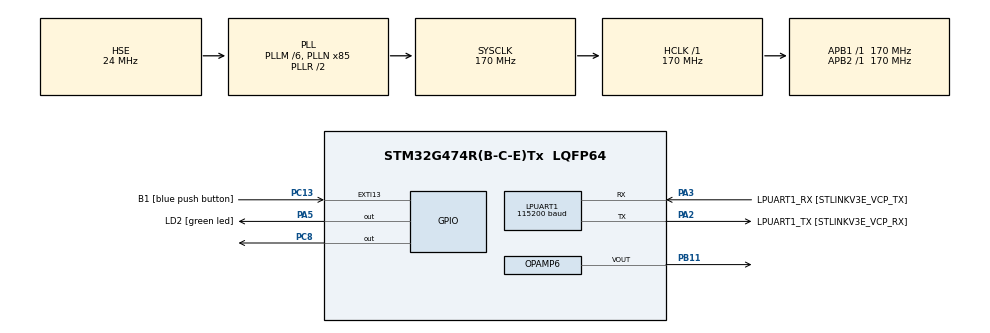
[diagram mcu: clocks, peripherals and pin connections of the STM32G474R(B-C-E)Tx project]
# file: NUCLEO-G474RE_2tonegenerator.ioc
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Mcu.Family=STM32G4
RCC.CortexFreq_Value=170000000
Dma.DAC3_CH1.0.Polarity=HAL_DMAMUX_REQ_GEN_RISING
Dma.DAC3_CH1.0.MemInc=DMA_MINC_ENABLE
PA14.GPIO_Label=T_SWCLK
Dma.DAC3_CH1.0.PeriphInc=DMA_PINC_DISABLE
LPUART1.WordLength=UART_WORDLENGTH_8B
PC13.GPIO_Label=B1 [blue push button]
PB11.Signal=OPAMP6_VOUT
RCC.SYSCLKSource=RCC_SYSCLKSOURCE_PLLCLK
ProjectManager.StackSize=0x400
Dma.DAC3_CH1.0.MemDataAlignment=DMA_MDATAALIGN_WORD
Dma.DAC3_CH1.0.SyncPolarity=HAL_DMAMUX_SYNC_NO_EVENT
Dma.DAC3_CH1.0.SyncEnable=DISABLE
RCC.HCLKFreq_Value=170000000
RCC.APB2TimFreq_Value=170000000
DAC3.DAC_Trigger_OUT1-DAC_OUT1_Int=DAC_TRIGGER_T6_TRGO
RCC.AHBFreq_Value=170000000
NVIC.EXTI15_10_IRQn=true\:0\:0\:false\:false\:true\:true\:true
RCC.HSE_VALUE=24000000
PB3.Mode=Trace_Asynchronous_SW
OPAMP6.PowerMode=OPAMP_POWERMODE_HIGHSPEED
RCC.ADC12Freq_Value=170000000
RCC.RTCClockSelection=RCC_RTCCLKSOURCE_LSE
VP_DAC3_VS_DACI1.Mode=DAC_OUT1_Int
PC14-OSC32_IN.Mode=LSE-External-Oscillator
PA14.Mode=Trace_Asynchronous_SW
VP_SYS_VS_DBSignals.Mode=DisableDeadBatterySignals
Mcu.Package=LQFP64
Dma.DAC3_CH1.0.Mode=DMA_CIRCULAR
TIM6.PeriodNoDither=2-1
PA2.GPIO_Label=LPUART1_TX [STLINKV3E_VCP_RX]
PC8.GPIO_Speed=GPIO_SPEED_FREQ_LOW
RCC.APB1TimFreq_Value=170000000
PF1-OSC_OUT.Mode=HSE-External-Oscillator
Dma.Request0=DAC3_CH1
PF1-OSC_OUT.Signal=RCC_OSC_OUT
RCC.HSI48_VALUE=48000000
PA3.Signal=LPUART1_RX
PB3.GPIO_Label=T_SWO
RCC.PLLSourceVirtual=RCC_PLLSOURCE_HSE
PC15-OSC32_OUT.Mode=LSE-External-Oscillator
PC13.Signal=GPXTI13
PC8.Signal=GPIO_Output
TIM6.Prescaler=2-1
VP_TIM6_VS_ClockSourceINT.Mode=Enable_Timer
RCC.EXTERNAL_CLOCK_VALUE=12288000
PC14-OSC32_IN.Signal=RCC_OSC32_IN
Dma.DAC3_CH1.0.Instance=DMA1_Channel1
PA13.Signal=SYS_JTMS-SWDIO
PA3.Mode=Asynchronous
Dma.DAC3_CH1.0.Direction=DMA_MEMORY_TO_PERIPH
PB11.Mode=Follower-DAC_OUT2-INP
ProjectManager.TargetToolchain=STM32CubeIDE
RCC.USBFreq_Value=170000000
PC15-OSC32_OUT.Signal=RCC_OSC32_OUT
PF0-OSC_IN.Mode=HSE-External-Oscillator
Dma.DAC3_CH1.0.EventEnable=DISABLE
PA5.Signal=GPIO_Output
Dma.DAC3_CH1.0.SyncRequestNumber=1
board=NUCLEO-G474RE
RCC.VCOOutputFreq_Value=340000000
RCC.ADC345Freq_Value=170000000
RCC.APB2Freq_Value=170000000
TIM6.TIM_MasterOutputTrigger=TIM_TRGO_UPDATE
Dma.DAC3_CH1.0.SignalID=NONE
PA13.Mode=Trace_Asynchronous_SW
Mcu.Name=STM32G474R(B-C-E)Tx
LPUART1.BaudRate=115200
PA13.GPIO_Label=T_SWDIO
PA2.Signal=LPUART1_TX
Dma.DAC3_CH1.0.PeriphDataAlignment=DMA_PDATAALIGN_WORD
Dma.DAC3_CH1.0.Priority=DMA_PRIORITY_HIGH
PB3.Signal=SYS_JTDO-SWO
RCC.SYSCLKFreq_VALUE=170000000
DAC3.DAC_HighFrequency_OUT1-DAC_OUT1_Int=DAC_HIGH_FREQUENCY_INTERFACE_MODE_ABOVE_160MHZ
PA5.GPIO_Label=LD2 [green led]
Dma.DAC3_CH1.0.RequestNumber=1
PA14.Signal=SYS_JTCK-SWCLK
ProjectManager.HeapSize=0x200
RCC.HSI_VALUE=16000000
NVIC.PriorityGroup=NVIC_PRIORITYGROUP_4
RCC.PLLM=RCC_PLLM_DIV6
RCC.PLLN=85
Dma.DAC3_CH1.0.SyncSignalID=NONE
PA2.Mode=Asynchronous
NVIC.DMA1_Channel1_IRQn=true\:0\:0\:false\:false\:true\:false\:false
PF0-OSC_IN.Signal=RCC_OSC_IN
RCC.APB1Freq_Value=170000000
PA3.GPIO_Label=LPUART1_RX [STLINKV3E_VCP_TX]

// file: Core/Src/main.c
/* USER CODE BEGIN Header */
/**
  ******************************************************************************
  * @file           : main.c
  * @brief          : Main program body
  ******************************************************************************
  * @attention
  *
  * <h2><center>&copy; Copyright (c) 2021 STMicroelectronics.
  * All rights reserved.</center></h2>
  *
  * This software component is licensed by ST under BSD 3-Clause license,
  * the "License"; You may not use this file except in compliance with the
  * License. You may obtain a copy of the License at:
  *                        opensource.org/licenses/BSD-3-Clause
  *
  ******************************************************************************
  */
/* USER CODE END Header */
#include "main.h"

/* USER CODE BEGIN Includes */

#include "waveforms.h"
#include <stdio.h>
#include "stm32g4xx_hal_dma.h"

/* USER CODE END Includes */

/* USER CODE BEGIN PD */

# define MySine4000_SIZE MySine2000_SIZE

/* USER CODE END PD */

DAC_HandleTypeDef hdac3;
DMA_HandleTypeDef hdma_dac3_ch1;

UART_HandleTypeDef hlpuart1;

OPAMP_HandleTypeDef hopamp6;

TIM_HandleTypeDef htim6;

/* USER CODE BEGIN PV */

uint32_t MySine4000[MySine4000_SIZE];
uint32_t pass, period;

/* USER CODE END PV */

void SystemClock_Config(void);
static void MX_GPIO_Init(void);
static void MX_DMA_Init(void);
static void MX_LPUART1_UART_Init(void);
static void MX_DAC3_Init(void);
static void MX_OPAMP6_Init(void);
static void MX_TIM6_Init(void);
/* USER CODE BEGIN PFP */

#define PUTCHAR_PROTOTYPE int __io_putchar(int ch)

/* USER CODE END PFP */

int main(void)
{

  /* MCU Configuration--------------------------------------------------------*/

  /* Reset of all peripherals, Initializes the Flash interface and the Systick. */
  HAL_Init();

  /* Configure the system clock */
  SystemClock_Config();

  /* Initialize all configured peripherals */
  MX_GPIO_Init();
  MX_DMA_Init();
  MX_LPUART1_UART_Init();
  MX_DAC3_Init();
  MX_OPAMP6_Init();
  MX_TIM6_Init();
  /* USER CODE BEGIN 2 */

//  for (uint16_t cntr = 0; cntr < MySine2000_SIZE; cntr++)
//  {
//	  MySine2000[cntr] += 682;
//	  MySine4000[cntr] = MySine2000[cntr];
//	  MySine2000[cntr] += MySine200[cntr % MySine200_SIZE];
//  }

  for (uint16_t cntr = 0; cntr < Sine12bit_SIZE; cntr++)
  {
	  Sine12bit[cntr] += 682;
//	  MySine4000[cntr] = MySine2000[cntr];
//	  MySine2000[cntr] += MySine200[cntr % MySine200_SIZE];
  }

//	printf("Sine1k_15k = 1k + 10k \n");
//	for (uint16_t cntr = 0; cntr < Sine1k_15k_SIZE; cntr++)
//	{
//	  printf("%d %d\n",cntr, Sine1k_15k[cntr]);
//	}

  GPIOC->BSRR = (1<<(8));
  /*##- Enable DAC Channel and associated DMA ##############################*/
  if(HAL_OK != HAL_DAC_Start_DMA(&hdac3, DAC_CHANNEL_1,
  				   (uint32_t*)Sine12bit, (Sine12bit_SIZE), DAC_ALIGN_12B_R))
  {
  	/* Start DMA Error */
  	Error_Handler();
  }
  GPIOC->BSRR = (1<<(8+16));

  /*##- Enable TIM peripheral counter ######################################*/
  if(HAL_OK != HAL_TIM_Base_Start(&htim6))
  {
  	Error_Handler();
  }
  /*##- Start OPAMP    #####################################################*/
  /* Enable OPAMP */
  if(HAL_OK != HAL_OPAMP_Start(&hopamp6))
  {
  	Error_Handler();
  }

  /* USER CODE END 2 */

  /* Infinite loop */
  while (1)
  {

  }
}

void SystemClock_Config(void)
{
  RCC_OscInitTypeDef RCC_OscInitStruct = {0};
  RCC_ClkInitTypeDef RCC_ClkInitStruct = {0};
  RCC_PeriphCLKInitTypeDef PeriphClkInit = {0};

  /** Configure the main internal regulator output voltage
  */
  HAL_PWREx_ControlVoltageScaling(PWR_REGULATOR_VOLTAGE_SCALE1_BOOST);
  /** Initializes the RCC Oscillators according to the specified parameters
  * in the RCC_OscInitTypeDef structure.
  */
  RCC_OscInitStruct.OscillatorType = RCC_OSCILLATORTYPE_HSE;
  RCC_OscInitStruct.HSEState = RCC_HSE_ON;
  RCC_OscInitStruct.PLL.PLLState = RCC_PLL_ON;
  RCC_OscInitStruct.PLL.PLLSource = RCC_PLLSOURCE_HSE;
  RCC_OscInitStruct.PLL.PLLM = RCC_PLLM_DIV6;
  RCC_OscInitStruct.PLL.PLLN = 85;
  RCC_OscInitStruct.PLL.PLLP = RCC_PLLP_DIV2;
  RCC_OscInitStruct.PLL.PLLQ = RCC_PLLQ_DIV2;
  RCC_OscInitStruct.PLL.PLLR = RCC_PLLR_DIV2;
  if (HAL_RCC_OscConfig(&RCC_OscInitStruct) != HAL_OK)
  {
    Error_Handler();
  }
  /** Initializes the CPU, AHB and APB buses clocks
  */
  RCC_ClkInitStruct.ClockType = RCC_CLOCKTYPE_HCLK|RCC_CLOCKTYPE_SYSCLK
                              |RCC_CLOCKTYPE_PCLK1|RCC_CLOCKTYPE_PCLK2;
  RCC_ClkInitStruct.SYSCLKSource = RCC_SYSCLKSOURCE_PLLCLK;
  RCC_ClkInitStruct.AHBCLKDivider = RCC_SYSCLK_DIV1;
  RCC_ClkInitStruct.APB1CLKDivider = RCC_HCLK_DIV1;
  RCC_ClkInitStruct.APB2CLKDivider = RCC_HCLK_DIV1;

  if (HAL_RCC_ClockConfig(&RCC_ClkInitStruct, FLASH_LATENCY_4) != HAL_OK)
  {
    Error_Handler();
  }
  /** Initializes the peripherals clocks
  */
  PeriphClkInit.PeriphClockSelection = RCC_PERIPHCLK_LPUART1;
  PeriphClkInit.Lpuart1ClockSelection = RCC_LPUART1CLKSOURCE_PCLK1;
  if (HAL_RCCEx_PeriphCLKConfig(&PeriphClkInit) != HAL_OK)
  {
    Error_Handler();
  }
}

static void MX_DAC3_Init(void)
{

  DAC_ChannelConfTypeDef sConfig = {0};

  /** DAC Initialization
  */
  hdac3.Instance = DAC3;
  if (HAL_DAC_Init(&hdac3) != HAL_OK)
  {
    Error_Handler();
  }
  /** DAC channel OUT1 config
  */
  sConfig.DAC_HighFrequency = DAC_HIGH_FREQUENCY_INTERFACE_MODE_ABOVE_160MHZ;
  sConfig.DAC_DMADoubleDataMode = DISABLE;
  sConfig.DAC_SignedFormat = DISABLE;
  sConfig.DAC_SampleAndHold = DAC_SAMPLEANDHOLD_DISABLE;
  sConfig.DAC_Trigger = DAC_TRIGGER_T6_TRGO;
  sConfig.DAC_Trigger2 = DAC_TRIGGER_NONE;
  sConfig.DAC_OutputBuffer = DAC_OUTPUTBUFFER_DISABLE;
  sConfig.DAC_ConnectOnChipPeripheral = DAC_CHIPCONNECT_INTERNAL;
  sConfig.DAC_UserTrimming = DAC_TRIMMING_FACTORY;
  if (HAL_DAC_ConfigChannel(&hdac3, &sConfig, DAC_CHANNEL_1) != HAL_OK)
  {
    Error_Handler();
  }

}

static void MX_LPUART1_UART_Init(void)
{

  hlpuart1.Instance = LPUART1;
  hlpuart1.Init.BaudRate = 115200;
  hlpuart1.Init.WordLength = UART_WORDLENGTH_8B;
  hlpuart1.Init.StopBits = UART_STOPBITS_1;
  hlpuart1.Init.Parity = UART_PARITY_NONE;
  hlpuart1.Init.Mode = UART_MODE_TX_RX;
  hlpuart1.Init.HwFlowCtl = UART_HWCONTROL_NONE;
  hlpuart1.Init.OneBitSampling = UART_ONE_BIT_SAMPLE_DISABLE;
  hlpuart1.Init.ClockPrescaler = UART_PRESCALER_DIV1;
  hlpuart1.AdvancedInit.AdvFeatureInit = UART_ADVFEATURE_NO_INIT;
  if (HAL_UART_Init(&hlpuart1) != HAL_OK)
  {
    Error_Handler();
  }
  if (HAL_UARTEx_SetTxFifoThreshold(&hlpuart1, UART_TXFIFO_THRESHOLD_1_8) != HAL_OK)
  {
    Error_Handler();
  }
  if (HAL_UARTEx_SetRxFifoThreshold(&hlpuart1, UART_RXFIFO_THRESHOLD_1_8) != HAL_OK)
  {
    Error_Handler();
  }
  if (HAL_UARTEx_DisableFifoMode(&hlpuart1) != HAL_OK)
  {
    Error_Handler();
  }

}

static void MX_OPAMP6_Init(void)
{

  hopamp6.Instance = OPAMP6;
  hopamp6.Init.PowerMode = OPAMP_POWERMODE_HIGHSPEED;
  hopamp6.Init.Mode = OPAMP_FOLLOWER_MODE;
  hopamp6.Init.NonInvertingInput = OPAMP_NONINVERTINGINPUT_DAC;
  hopamp6.Init.InternalOutput = DISABLE;
  hopamp6.Init.TimerControlledMuxmode = OPAMP_TIMERCONTROLLEDMUXMODE_DISABLE;
  hopamp6.Init.UserTrimming = OPAMP_TRIMMING_FACTORY;
  if (HAL_OPAMP_Init(&hopamp6) != HAL_OK)
  {
    Error_Handler();
  }

}

static void MX_TIM6_Init(void)
{

  TIM_MasterConfigTypeDef sMasterConfig = {0};

  htim6.Instance = TIM6;
  htim6.Init.Prescaler = 2-1;
  htim6.Init.CounterMode = TIM_COUNTERMODE_UP;
  htim6.Init.Period = 1;
  htim6.Init.AutoReloadPreload = TIM_AUTORELOAD_PRELOAD_DISABLE;
  if (HAL_TIM_Base_Init(&htim6) != HAL_OK)
  {
    Error_Handler();
  }
  sMasterConfig.MasterOutputTrigger = TIM_TRGO_UPDATE;
  sMasterConfig.MasterSlaveMode = TIM_MASTERSLAVEMODE_DISABLE;
  if (HAL_TIMEx_MasterConfigSynchronization(&htim6, &sMasterConfig) != HAL_OK)
  {
    Error_Handler();
  }

}

static void MX_DMA_Init(void)
{

  /* DMA controller clock enable */
  __HAL_RCC_DMAMUX1_CLK_ENABLE();
  __HAL_RCC_DMA1_CLK_ENABLE();

  /* DMA interrupt init */
  /* DMA1_Channel1_IRQn interrupt configuration */
  HAL_NVIC_SetPriority(DMA1_Channel1_IRQn, 0, 0);
  HAL_NVIC_EnableIRQ(DMA1_Channel1_IRQn);

}

static void MX_GPIO_Init(void)
{
  GPIO_InitTypeDef GPIO_InitStruct = {0};

  /* GPIO Ports Clock Enable */
  __HAL_RCC_GPIOC_CLK_ENABLE();
  __HAL_RCC_GPIOF_CLK_ENABLE();
  __HAL_RCC_GPIOA_CLK_ENABLE();
  __HAL_RCC_GPIOB_CLK_ENABLE();

  /*Configure GPIO pin Output Level */
  HAL_GPIO_WritePin(LD2_GPIO_Port, LD2_Pin, GPIO_PIN_RESET);

  /*Configure GPIO pin Output Level */
  HAL_GPIO_WritePin(GPIOC, GPIO_PIN_8, GPIO_PIN_RESET);

  /*Configure GPIO pin : B1_Pin */
  GPIO_InitStruct.Pin = B1_Pin;
  GPIO_InitStruct.Mode = GPIO_MODE_IT_RISING;
  GPIO_InitStruct.Pull = GPIO_NOPULL;
  HAL_GPIO_Init(B1_GPIO_Port, &GPIO_InitStruct);

  /*Configure GPIO pin : LD2_Pin */
  GPIO_InitStruct.Pin = LD2_Pin;
  GPIO_InitStruct.Mode = GPIO_MODE_OUTPUT_PP;
  GPIO_InitStruct.Pull = GPIO_NOPULL;
  GPIO_InitStruct.Speed = GPIO_SPEED_FREQ_LOW;
  HAL_GPIO_Init(LD2_GPIO_Port, &GPIO_InitStruct);

  /*Configure GPIO pin : PC8 */
  GPIO_InitStruct.Pin = GPIO_PIN_8;
  GPIO_InitStruct.Mode = GPIO_MODE_OUTPUT_PP;
  GPIO_InitStruct.Pull = GPIO_NOPULL;
  GPIO_InitStruct.Speed = GPIO_SPEED_FREQ_LOW;
  HAL_GPIO_Init(GPIOC, &GPIO_InitStruct);

  /* EXTI interrupt init*/
  HAL_NVIC_SetPriority(EXTI15_10_IRQn, 0, 0);
  HAL_NVIC_EnableIRQ(EXTI15_10_IRQn);

}

/* USER CODE BEGIN 4 */

PUTCHAR_PROTOTYPE
{
  /* Place your implementation of fputc here */
  /* e.g. write a character to the LPUART1 and Loop until the end of transmission */
  HAL_UART_Transmit(&hlpuart1, (uint8_t *)&ch, 1, 0xFFFF);

  return ch;
}

//void HAL_DAC_ConvCpltCallbackCh1(DAC_HandleTypeDef *hdac)
//{
//  /* Prevent unused argument(s) compilation warning */
//  UNUSED(hdac);
//
//  /* NOTE : This function should not be modified, when the callback is needed,
//            the HAL_DAC_ConvCpltCallbackCh1 could be implemented in the user file
//   */
//
//  GPIOC->BSRR = (1<<(8));
//  period++;
//  if (period == 3)
//  {
//	  period = 0;
//	  if (pass == 1)
//	  {
//		  pass = 0;
//		  hdma_dac3_ch1.Instance->CMAR = MySine4000;
//	  }
//	  else
//	  {
//		  pass = 1;
//		  hdma_dac3_ch1.Instance->CMAR = MySine2000;
//	  }
//  }
//  GPIOC->BSRR = (1<<(8+16));
//
////  hdma_dac3_ch1.Instance->CMAR = MySine4000;
//
//}

//void HAL_DAC_ConvHalfCpltCallbackCh1(DAC_HandleTypeDef *hdac)
//{
//  /* Prevent unused argument(s) compilation warning */
//  UNUSED(hdac);
//
//  /* NOTE : This function should not be modified, when the callback is needed,
//            the HAL_DAC_ConvHalfCpltCallbackCh1 could be implemented in the user file
//   */
//
//  hdma_dac3_ch1.Instance->CMAR = MySine2000;
//
//}

/* USER CODE END 4 */

void Error_Handler(void)
{
  /* USER CODE BEGIN Error_Handler_Debug */
  /* User can add his own implementation to report the HAL error return state */
  __disable_irq();
  while (1)
  {
	  HAL_Delay(100);
	  HAL_GPIO_TogglePin(GPIOA, GPIO_PIN_5);
  }
  /* USER CODE END Error_Handler_Debug */
}

/************************ (C) COPYRIGHT STMicroelectronics *****END OF FILE****/
